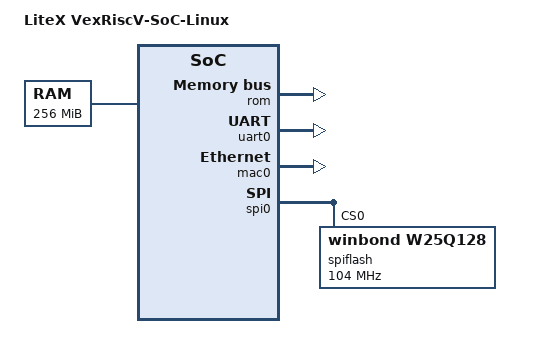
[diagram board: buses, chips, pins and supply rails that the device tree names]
// SPDX-License-Identifier: GPL-2.0-only

#include "litex_soc_linux.dtsi"

/ {
	model = "LiteX VexRiscV-SoC-Linux";
	compatible = "litex,vexriscv-soc-linux";

	aliases {
		rom = &rom;
		sram = &sram;
	};

	/* ARTY board */
	rom: rom@00000000 {
		compatible = "mmio-sram";
		reg = <0x00000000 0x00008000>;
		read-only;
	};

	sram: sram@10000000 {
		compatible = "mmio-sram";
		reg = <0x20000000 0x00004000>;
	};

	main_ram: memory@40000000 {
		device_type = "memory";
		reg = <0x40000000 0x10000000>;
	};
};

&uart0 {
	status = "okay";
};

&mac0 {
	status = "okay";
};

&spi0 {
	status = "okay";

	spiflash: w25q128@0 {
		#address-cells = <1>;
		#size-cells = <1>;
		compatible = "winbond,w25q128", "jedec,spi-nor";
		spi-max-frequency = <104000000>;
		reg = <0>;
	};
};
